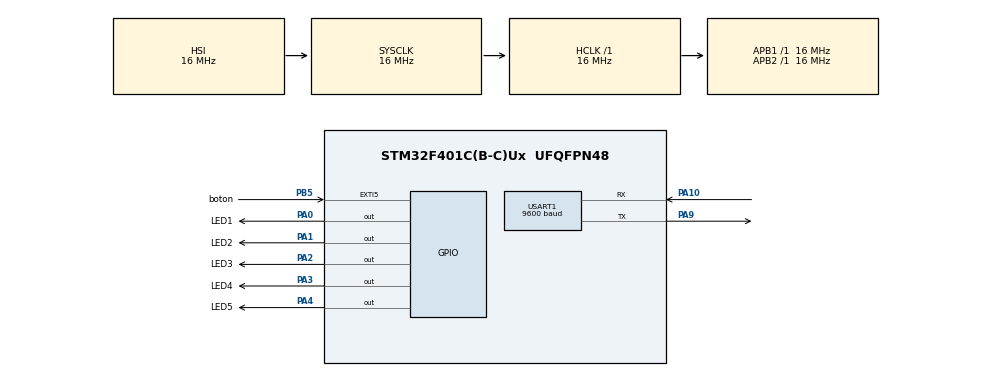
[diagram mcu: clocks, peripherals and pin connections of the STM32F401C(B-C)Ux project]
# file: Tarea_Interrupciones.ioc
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Dma.Request0=USART1_RX
Dma.USART1_RX.0.Direction=DMA_PERIPH_TO_MEMORY
Dma.USART1_RX.0.FIFOMode=DMA_FIFOMODE_DISABLE
Dma.USART1_RX.0.Instance=DMA2_Stream2
Dma.USART1_RX.0.MemDataAlignment=DMA_MDATAALIGN_BYTE
Dma.USART1_RX.0.MemInc=DMA_MINC_ENABLE
Dma.USART1_RX.0.Mode=DMA_NORMAL
Dma.USART1_RX.0.PeriphDataAlignment=DMA_PDATAALIGN_BYTE
Dma.USART1_RX.0.PeriphInc=DMA_PINC_DISABLE
Dma.USART1_RX.0.Priority=DMA_PRIORITY_LOW
Mcu.Family=STM32F4
Mcu.Name=STM32F401C(B-C)Ux
Mcu.Package=UFQFPN48
NVIC.DMA2_Stream2_IRQn=true\:0\:0\:false\:false\:true\:false\:true\:true
NVIC.EXTI9_5_IRQn=true\:0\:0\:false\:false\:true\:true\:true\:true
NVIC.PriorityGroup=NVIC_PRIORITYGROUP_4
NVIC.TIM1_UP_TIM10_IRQn=true\:1\:0\:true\:false\:true\:true\:true\:true
NVIC.USART1_IRQn=true\:0\:0\:true\:false\:true\:true\:true\:true
PA0-WKUP.GPIO_Label=LED1
PA0-WKUP.Signal=GPIO_Output
PA1.GPIO_Label=LED2
PA1.Signal=GPIO_Output
PA10.Mode=Asynchronous
PA10.Signal=USART1_RX
PA2.GPIO_Label=LED3
PA2.Signal=GPIO_Output
PA3.GPIO_Label=LED4
PA3.Signal=GPIO_Output
PA4.GPIO_Label=LED5
PA4.Signal=GPIO_Output
PA9.Mode=Asynchronous
PA9.Signal=USART1_TX
PB5.GPIO_Label=boton
PB5.GPIO_ModeDefaultEXTI=GPIO_MODE_IT_RISING
PB5.GPIO_PuPd=GPIO_PULLDOWN
PB5.Signal=GPXTI5
ProjectManager.HeapSize=0x200
ProjectManager.StackSize=0x400
ProjectManager.TargetToolchain=CMake
RCC.AHBFreq_Value=16000000
RCC.APB1Freq_Value=16000000
RCC.APB2Freq_Value=16000000
RCC.CortexFreq_Value=16000000
RCC.HSE_VALUE=25000000
RCC.HSI_VALUE=16000000
RCC.LSE_VALUE=32768
RCC.SYSCLKFreq_VALUE=16000000
RCC.VCOOutputFreq_Value=192000000
TIM1.AutoReloadPreload=TIM_AUTORELOAD_PRELOAD_ENABLE
TIM1.Period=99
TIM1.Prescaler=1600-1
USART1.BaudRate=9600
USART1.VirtualMode=VM_ASYNC
VP_TIM1_VS_ClockSourceINT.Mode=Internal
board=custom

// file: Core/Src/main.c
/* USER CODE BEGIN Header */
/**
  ******************************************************************************
  * @file           : main.c
  * @brief          : Main program body
  ******************************************************************************
  * @attention
  *
  * Copyright (c) 2026 STMicroelectronics.
  * All rights reserved.
  *
  * This software is licensed under terms that can be found in the LICENSE file
  * in the root directory of this software component.
  * If no LICENSE file comes with this software, it is provided AS-IS.
  *
  ******************************************************************************
  */
/* USER CODE END Header */
#include "main.h"

/* USER CODE BEGIN Includes */
#include <stdio.h>
#include <string.h>
#include <stdlib.h>
#include "math.h"
#include "uart.h"
#include "UARTRX.h"
/* USER CODE END Includes */

TIM_HandleTypeDef htim1;

UART_HandleTypeDef huart1;
DMA_HandleTypeDef hdma_usart1_rx;

void SystemClock_Config(void);
static void MX_GPIO_Init(void);
static void MX_DMA_Init(void);
static void MX_TIM1_Init(void);
static void MX_USART1_UART_Init(void);

/* USER CODE BEGIN 0 */
void procesa_rx(void)
{
    if (strstr((char *)UARTRX1.trama_rx, "prender") != NULL)
    {
        HAL_GPIO_WritePin(LED5_GPIO_Port, LED5_Pin, GPIO_PIN_SET);
    }
    else if (strstr((char *)UARTRX1.trama_rx, "apagar") != NULL )
    {
        HAL_GPIO_WritePin(LED5_GPIO_Port, LED5_Pin, GPIO_PIN_RESET);
    }
}
/* USER CODE END 0 */

int main(void)
{

  /* MCU Configuration--------------------------------------------------------*/

  /* Reset of all peripherals, Initializes the Flash interface and the Systick. */
  HAL_Init();

  /* Configure the system clock */
  SystemClock_Config();

  /* Initialize all configured peripherals */
  MX_GPIO_Init();
  MX_DMA_Init();
  MX_TIM1_Init();
  MX_USART1_UART_Init();
  /* USER CODE BEGIN 2 */
  HAL_TIM_Base_Start_IT(&htim1);
  uartRX_it_idle_dma_init(&UARTRX1);
  /* USER CODE END 2 */

  /* Infinite loop */
  /* USER CODE BEGIN WHILE */
  while (1)
  {
    HAL_GPIO_TogglePin(LED1_GPIO_Port, LED1_Pin);
    HAL_Delay(300);
    if (UARTRX1.flag_rx==1)
	  {
	    procesa_rx(); //procedimeinto donde se procesan los datos
		  uartRX_DMA_Re_init(&UARTRX1);
	  }
    /* USER CODE END WHILE */

  }
}

void SystemClock_Config(void)
{
  RCC_OscInitTypeDef RCC_OscInitStruct = {0};
  RCC_ClkInitTypeDef RCC_ClkInitStruct = {0};

  /** Configure the main internal regulator output voltage
  */
  __HAL_RCC_PWR_CLK_ENABLE();
  __HAL_PWR_VOLTAGESCALING_CONFIG(PWR_REGULATOR_VOLTAGE_SCALE2);

  /** Initializes the RCC Oscillators according to the specified parameters
  * in the RCC_OscInitTypeDef structure.
  */
  RCC_OscInitStruct.OscillatorType = RCC_OSCILLATORTYPE_HSI;
  RCC_OscInitStruct.HSIState = RCC_HSI_ON;
  RCC_OscInitStruct.HSICalibrationValue = RCC_HSICALIBRATION_DEFAULT;
  RCC_OscInitStruct.PLL.PLLState = RCC_PLL_NONE;
  if (HAL_RCC_OscConfig(&RCC_OscInitStruct) != HAL_OK)
  {
    Error_Handler();
  }

  /** Initializes the CPU, AHB and APB buses clocks
  */
  RCC_ClkInitStruct.ClockType = RCC_CLOCKTYPE_HCLK|RCC_CLOCKTYPE_SYSCLK
                              |RCC_CLOCKTYPE_PCLK1|RCC_CLOCKTYPE_PCLK2;
  RCC_ClkInitStruct.SYSCLKSource = RCC_SYSCLKSOURCE_HSI;
  RCC_ClkInitStruct.AHBCLKDivider = RCC_SYSCLK_DIV1;
  RCC_ClkInitStruct.APB1CLKDivider = RCC_HCLK_DIV1;
  RCC_ClkInitStruct.APB2CLKDivider = RCC_HCLK_DIV1;

  if (HAL_RCC_ClockConfig(&RCC_ClkInitStruct, FLASH_LATENCY_0) != HAL_OK)
  {
    Error_Handler();
  }
}

static void MX_TIM1_Init(void)
{

  TIM_ClockConfigTypeDef sClockSourceConfig = {0};
  TIM_MasterConfigTypeDef sMasterConfig = {0};

  htim1.Instance = TIM1;
  htim1.Init.Prescaler = 1600-1;
  htim1.Init.CounterMode = TIM_COUNTERMODE_UP;
  htim1.Init.Period = 99;
  htim1.Init.ClockDivision = TIM_CLOCKDIVISION_DIV1;
  htim1.Init.RepetitionCounter = 0;
  htim1.Init.AutoReloadPreload = TIM_AUTORELOAD_PRELOAD_ENABLE;
  if (HAL_TIM_Base_Init(&htim1) != HAL_OK)
  {
    Error_Handler();
  }
  sClockSourceConfig.ClockSource = TIM_CLOCKSOURCE_INTERNAL;
  if (HAL_TIM_ConfigClockSource(&htim1, &sClockSourceConfig) != HAL_OK)
  {
    Error_Handler();
  }
  sMasterConfig.MasterOutputTrigger = TIM_TRGO_RESET;
  sMasterConfig.MasterSlaveMode = TIM_MASTERSLAVEMODE_DISABLE;
  if (HAL_TIMEx_MasterConfigSynchronization(&htim1, &sMasterConfig) != HAL_OK)
  {
    Error_Handler();
  }

}

static void MX_USART1_UART_Init(void)
{

  huart1.Instance = USART1;
  huart1.Init.BaudRate = 9600;
  huart1.Init.WordLength = UART_WORDLENGTH_8B;
  huart1.Init.StopBits = UART_STOPBITS_1;
  huart1.Init.Parity = UART_PARITY_NONE;
  huart1.Init.Mode = UART_MODE_TX_RX;
  huart1.Init.HwFlowCtl = UART_HWCONTROL_NONE;
  huart1.Init.OverSampling = UART_OVERSAMPLING_16;
  if (HAL_UART_Init(&huart1) != HAL_OK)
  {
    Error_Handler();
  }

}

static void MX_DMA_Init(void)
{

  /* DMA controller clock enable */
  __HAL_RCC_DMA2_CLK_ENABLE();

  /* DMA interrupt init */
  /* DMA2_Stream2_IRQn interrupt configuration */
  HAL_NVIC_SetPriority(DMA2_Stream2_IRQn, 0, 0);
  HAL_NVIC_EnableIRQ(DMA2_Stream2_IRQn);

}

static void MX_GPIO_Init(void)
{
  GPIO_InitTypeDef GPIO_InitStruct = {0};

  /* GPIO Ports Clock Enable */
  __HAL_RCC_GPIOA_CLK_ENABLE();
  __HAL_RCC_GPIOB_CLK_ENABLE();

  /*Configure GPIO pin Output Level */
  HAL_GPIO_WritePin(GPIOA, LED1_Pin|LED2_Pin|LED3_Pin|LED4_Pin
                          |LED5_Pin, GPIO_PIN_RESET);

  /*Configure GPIO pins : LED1_Pin LED2_Pin LED3_Pin LED4_Pin
                           LED5_Pin */
  GPIO_InitStruct.Pin = LED1_Pin|LED2_Pin|LED3_Pin|LED4_Pin
                          |LED5_Pin;
  GPIO_InitStruct.Mode = GPIO_MODE_OUTPUT_PP;
  GPIO_InitStruct.Pull = GPIO_NOPULL;
  GPIO_InitStruct.Speed = GPIO_SPEED_FREQ_LOW;
  HAL_GPIO_Init(GPIOA, &GPIO_InitStruct);

  /*Configure GPIO pin : boton_Pin */
  GPIO_InitStruct.Pin = boton_Pin;
  GPIO_InitStruct.Mode = GPIO_MODE_IT_RISING;
  GPIO_InitStruct.Pull = GPIO_PULLDOWN;
  HAL_GPIO_Init(boton_GPIO_Port, &GPIO_InitStruct);

  /* EXTI interrupt init*/
  HAL_NVIC_SetPriority(EXTI9_5_IRQn, 0, 0);
  HAL_NVIC_EnableIRQ(EXTI9_5_IRQn);

}

void Error_Handler(void)
{
  __disable_irq();
  while (1)
  {
  }
}
